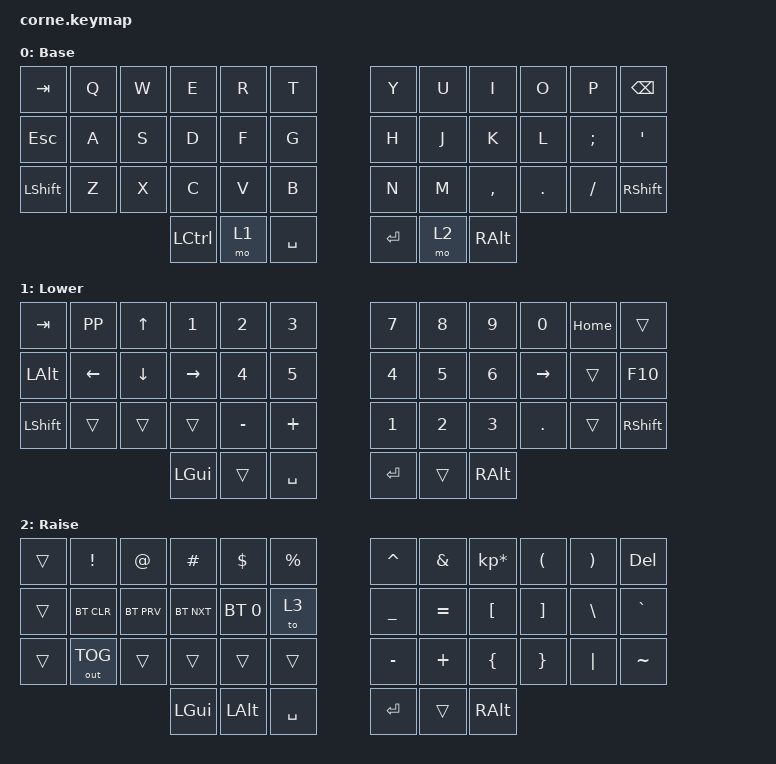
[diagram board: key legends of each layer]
/*
 * Copyright (c) 2020 The ZMK Contributors
 *
 * SPDX-License-Identifier: MIT
 */

#include <behaviors.dtsi>
#include <dt-bindings/zmk/keys.h>
#include <dt-bindings/zmk/bt.h>
#include <dt-bindings/zmk/outputs.h>

/ {
    keymap {
        compatible = "zmk,keymap";

        Base {
            // -----------------------------------------------------------------------------------------
            // |  TAB |  Q  |  W  |  F  |  P  |  B  |   |  J  |  L   |  U  |  Y  |  ;  | ESC |
            // | CTRL |  A  |  R  |  S  |  T  |  G  |   |  M  |  N   |  K  |  L  |  ;  |  '   |
            // | SHFT |  Z  |  X  |  C  |  D  |  V  |   |  K  |  H   |  ,  |  .  |  /  | BKSP  |
            //                    | GUI | LWR | SPC |   | ENT | RSE  | ALT |

            label = "Base";
            bindings = <
   &kp TAB   &kp Q   &kp W      &kp E   &kp R      &kp T            &kp Y   &kp U      &kp I    &kp O     &kp P    &kp BSPC
   &kp ESC   &kp A   &kp S      &kp D   &kp F      &kp G            &kp H   &kp J      &kp K    &kp L  &kp SEMI    &kp APOS
 &kp LSHFT   &kp Z   &kp X      &kp C   &kp V      &kp B            &kp N   &kp M  &kp COMMA  &kp DOT  &kp FSLH  &kp RSHIFT
                            &kp LCTRL   &mo 1  &kp SPACE          &kp RET   &mo 2   &kp RALT
            >;
        };

        Lower {
            // -----------------------------------------------------------------------------------------
            // |  TAB |  1  |  2  |  3  |  4  |  5  |   |  6  |  7  |  8  |  9  |  0  | BKSP |
            // | BTCLR| BT1 | BT2 | BT3 | BT4 | BT5 |   | LFT | DWN |  UP | RGT |     |      |
            // | SHFT |     |     |     |     |     |   |     |     |     |     |     |      |
            //                    | GUI |     | SPC |   | ENT |     | ALT |

            label = "Lower";
            bindings = <
   &kp TAB  &kp K_PP    &kp UP     &kp N1     &kp N2     &kp N3           &kp N7  &kp N8    &kp N9     &kp N0  &kp HOME      &trans
  &kp LALT  &kp LEFT  &kp DOWN  &kp RIGHT     &kp N4     &kp N5           &kp N4  &kp N5    &kp N6  &kp RIGHT    &trans     &kp F10
 &kp LSHFT    &trans    &trans     &trans  &kp MINUS   &kp PLUS           &kp N1  &kp N2    &kp N3    &kp DOT    &trans  &kp RSHIFT
                                 &kp LGUI     &trans  &kp SPACE          &kp RET  &trans  &kp RALT
            >;
        };

        Raise {
            // -----------------------------------------------------------------------------------------
            // |  TAB |  !  |  @  |  #  |  $  |  %  |   |  ^  |  &  |  *  |  (  |  )  | BKSP |
            // | CTRL |     |     |     |     |     |   |  -  |  =  |  [  |  ]  |  \  |  `   |
            // | SHFT |     |     |     |     |     |   |  _  |  +  |  {  |  }  | "|" |  ~   |
            //                    | GUI |     | SPC |   | ENT |     | ALT |

            label = "Raise";
            bindings = <
 &trans      &kp EXCL      &kp AT    &kp HASH      &kp DLLR  &kp PRCNT          &kp CARET   &kp AMPS  &kp KP_MULTIPLY  &kp LPAR  &kp RPAR    &kp DEL
 &trans    &bt BT_CLR  &bt BT_PRV  &bt BT_NXT  &bt BT_SEL 0      &to 3          &kp UNDER  &kp EQUAL         &kp LBKT  &kp RBKT  &kp BSLH  &kp GRAVE
 &trans  &out OUT_TOG      &trans      &trans        &trans     &trans          &kp MINUS   &kp PLUS         &kp LBRC  &kp RBRC  &kp PIPE  &kp TILDE
                                     &kp LGUI  &kp LEFT_ALT  &kp SPACE            &kp RET     &trans         &kp RALT
            >;
        };
    };
};

&nice_view_spi {
    cs-gpios = <&pro_micro 0 GPIO_ACTIVE_HIGH>;
